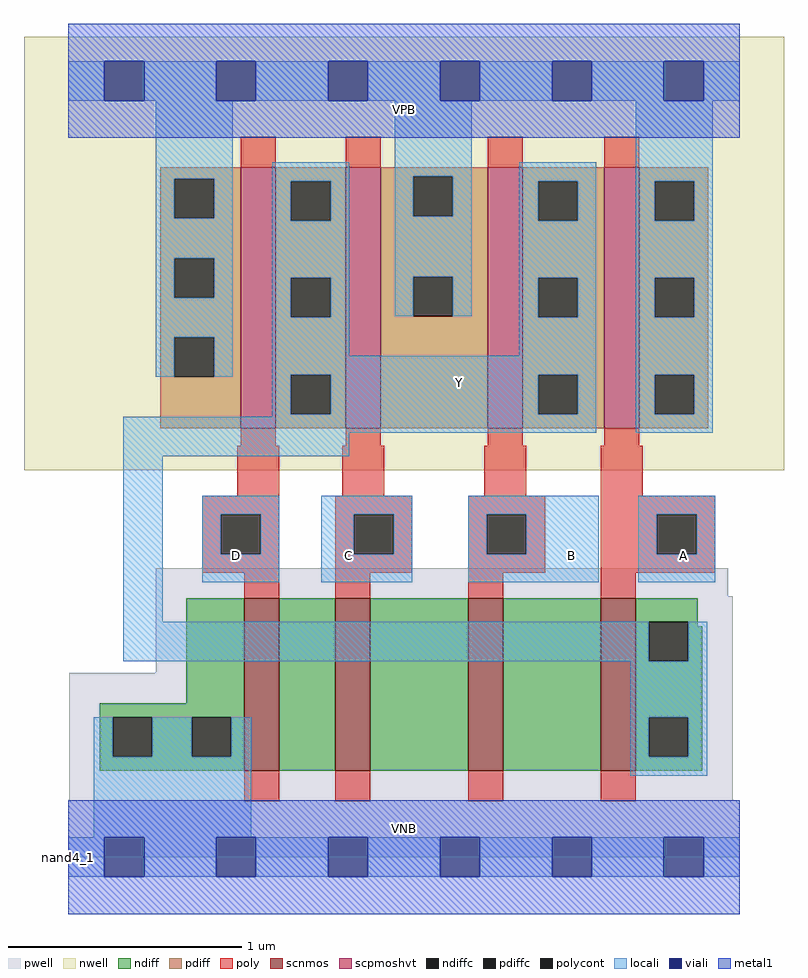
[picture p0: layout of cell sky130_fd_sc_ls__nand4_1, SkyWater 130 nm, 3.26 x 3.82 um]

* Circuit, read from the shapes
.subckt sky130_fd_sc_ls__nand4_1 A B C D VGND VNB VPB VPWR Y
XM1 n1 D VGND VNB sky130_fd_pr__nfet_01v8 w=0.74 l=0.15
XM2 n2 C n1 VNB sky130_fd_pr__nfet_01v8 w=0.74 l=0.15
XM3 n3 B n2 VNB sky130_fd_pr__nfet_01v8 w=0.74 l=0.15
XM4 Y A n3 VNB sky130_fd_pr__nfet_01v8 w=0.74 l=0.15
XM5 Y D VPWR VPB sky130_fd_pr__pfet_01v8_hvt w=1.12 l=0.15
XM6 VPWR C Y VPB sky130_fd_pr__pfet_01v8_hvt w=1.12 l=0.15
XM7 Y B VPWR VPB sky130_fd_pr__pfet_01v8_hvt w=1.12 l=0.15
XM8 VPWR A Y VPB sky130_fd_pr__pfet_01v8_hvt w=1.12 l=0.15
.ends

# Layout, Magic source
magic
tech sky130A
magscale 1 2
<< nwell >>
rect -38 332 614 704
<< pwell >>
rect 75 224 566 248
rect 75 158 570 224
rect 1 49 570 158
rect 0 0 576 49
<< scnmos >>
rect 151 74 181 222
rect 229 74 259 222
rect 343 74 373 222
rect 457 74 487 222
<< scpmoshvt >>
rect 148 368 178 592
rect 238 368 268 592
rect 360 368 390 592
rect 460 368 490 592
<< ndiff >>
rect 101 132 151 222
rect 27 120 151 132
rect 27 86 38 120
rect 72 86 106 120
rect 140 86 151 120
rect 27 74 151 86
rect 181 74 229 222
rect 259 74 343 222
rect 373 74 457 222
rect 487 202 540 222
rect 487 168 498 202
rect 532 198 540 202
rect 532 168 544 198
rect 487 120 544 168
rect 487 86 498 120
rect 532 86 544 120
rect 487 74 544 86
<< pdiff >>
rect 79 582 148 592
rect 79 548 91 582
rect 125 548 148 582
rect 79 514 148 548
rect 79 480 91 514
rect 125 480 148 514
rect 79 446 148 480
rect 79 412 91 446
rect 125 412 148 446
rect 79 368 148 412
rect 178 580 238 592
rect 178 546 191 580
rect 225 546 238 580
rect 178 497 238 546
rect 178 463 191 497
rect 225 463 238 497
rect 178 414 238 463
rect 178 380 191 414
rect 225 380 238 414
rect 178 368 238 380
rect 268 584 360 592
rect 268 550 296 584
rect 330 550 360 584
rect 268 498 360 550
rect 268 464 296 498
rect 330 464 360 498
rect 268 368 360 464
rect 390 580 460 592
rect 390 546 403 580
rect 437 546 460 580
rect 390 497 460 546
rect 390 463 403 497
rect 437 463 460 497
rect 390 414 460 463
rect 390 380 403 414
rect 437 380 460 414
rect 390 368 460 380
rect 490 580 549 592
rect 490 546 503 580
rect 537 546 549 580
rect 490 497 549 546
rect 490 463 503 497
rect 537 463 549 497
rect 490 414 549 463
rect 490 380 503 414
rect 537 380 549 414
rect 490 368 549 380
<< ndiffc >>
rect 38 86 72 120
rect 106 86 140 120
rect 498 168 532 202
rect 498 86 532 120
<< pdiffc >>
rect 91 548 125 582
rect 91 480 125 514
rect 91 412 125 446
rect 191 546 225 580
rect 191 463 225 497
rect 191 380 225 414
rect 296 550 330 584
rect 296 464 330 498
rect 403 546 437 580
rect 403 463 437 497
rect 403 380 437 414
rect 503 546 537 580
rect 503 463 537 497
rect 503 380 537 414
<< poly >>
rect 148 592 178 618
rect 238 592 268 618
rect 360 592 390 618
rect 460 592 490 618
rect 148 353 178 368
rect 238 353 268 368
rect 360 353 390 368
rect 460 353 490 368
rect 145 310 181 353
rect 235 310 271 353
rect 357 310 393 353
rect 457 310 493 353
rect 115 294 181 310
rect 115 260 131 294
rect 165 260 181 294
rect 115 244 181 260
rect 151 222 181 244
rect 229 294 295 310
rect 229 260 245 294
rect 279 260 295 294
rect 229 244 295 260
rect 343 294 409 310
rect 343 260 359 294
rect 393 260 409 294
rect 343 244 409 260
rect 457 294 555 310
rect 457 260 505 294
rect 539 260 555 294
rect 457 244 555 260
rect 229 222 259 244
rect 343 222 373 244
rect 457 222 487 244
rect 151 48 181 74
rect 229 48 259 74
rect 343 48 373 74
rect 457 48 487 74
<< polycont >>
rect 131 260 165 294
rect 245 260 279 294
rect 359 260 393 294
rect 505 260 539 294
<< locali >>
rect 0 649 31 683
rect 65 649 127 683
rect 161 649 223 683
rect 257 649 319 683
rect 353 649 415 683
rect 449 649 511 683
rect 545 649 576 683
rect 75 582 141 649
rect 75 548 91 582
rect 125 548 141 582
rect 75 514 141 548
rect 75 480 91 514
rect 125 480 141 514
rect 75 446 141 480
rect 75 412 91 446
rect 125 412 141 446
rect 175 580 241 596
rect 175 546 191 580
rect 225 546 241 580
rect 175 497 241 546
rect 175 463 191 497
rect 225 463 241 497
rect 280 584 346 649
rect 280 550 296 584
rect 330 550 346 584
rect 280 498 346 550
rect 280 464 296 498
rect 330 464 346 498
rect 387 580 453 596
rect 387 546 403 580
rect 437 546 453 580
rect 387 497 453 546
rect 175 430 241 463
rect 387 463 403 497
rect 437 463 453 497
rect 387 430 453 463
rect 175 414 453 430
rect 175 380 191 414
rect 225 380 403 414
rect 437 380 453 414
rect 175 378 453 380
rect 47 364 453 378
rect 487 580 553 649
rect 487 546 503 580
rect 537 546 553 580
rect 487 497 553 546
rect 487 463 503 497
rect 537 463 553 497
rect 487 414 553 463
rect 487 380 503 414
rect 537 380 553 414
rect 487 364 553 380
rect 47 344 241 364
rect 47 202 81 344
rect 115 294 181 310
rect 115 260 131 294
rect 165 260 181 294
rect 115 236 181 260
rect 217 294 295 310
rect 217 260 245 294
rect 279 260 295 294
rect 217 236 295 260
rect 343 294 455 310
rect 343 260 359 294
rect 393 260 455 294
rect 343 236 455 260
rect 489 294 555 310
rect 489 260 505 294
rect 539 260 555 294
rect 489 236 555 260
rect 47 168 498 202
rect 532 168 548 202
rect 482 120 548 168
rect 22 86 38 120
rect 72 86 106 120
rect 140 86 157 120
rect 22 17 157 86
rect 482 86 498 120
rect 532 86 548 120
rect 482 70 548 86
rect 0 -17 31 17
rect 65 -17 127 17
rect 161 -17 223 17
rect 257 -17 319 17
rect 353 -17 415 17
rect 449 -17 511 17
rect 545 -17 576 17
<< viali >>
rect 31 649 65 683
rect 127 649 161 683
rect 223 649 257 683
rect 319 649 353 683
rect 415 649 449 683
rect 511 649 545 683
rect 31 -17 65 17
rect 127 -17 161 17
rect 223 -17 257 17
rect 319 -17 353 17
rect 415 -17 449 17
rect 511 -17 545 17
<< metal1 >>
rect 0 683 576 715
rect 0 649 31 683
rect 65 649 127 683
rect 161 649 223 683
rect 257 649 319 683
rect 353 649 415 683
rect 449 649 511 683
rect 545 649 576 683
rect 0 617 576 649
rect 0 17 576 49
rect 0 -17 31 17
rect 65 -17 127 17
rect 161 -17 223 17
rect 257 -17 319 17
rect 353 -17 415 17
rect 449 -17 511 17
rect 545 -17 576 17
rect 0 -49 576 -17
<< labels >>
rlabel comment s 0 0 0 0 4 nand4_1
flabel pwell s 0 0 576 49 0 FreeSans 200 0 0 0 VNB
port 6 nsew ground bidirectional
flabel nwell s 0 617 576 666 0 FreeSans 200 0 0 0 VPB
port 7 nsew power bidirectional
flabel metal1 s 0 617 576 666 0 FreeSans 340 0 0 0 VPWR
port 8 nsew power bidirectional abutment
flabel metal1 s 0 0 576 49 0 FreeSans 340 0 0 0 VGND
port 5 nsew ground bidirectional abutment
flabel locali s 223 242 257 276 0 FreeSans 340 0 0 0 C
port 3 nsew signal input
flabel locali s 319 390 353 424 0 FreeSans 340 0 0 0 Y
port 9 nsew signal output
flabel locali s 127 242 161 276 0 FreeSans 340 0 0 0 D
port 4 nsew signal input
flabel locali s 415 242 449 276 0 FreeSans 340 0 0 0 B
port 2 nsew signal input
flabel locali s 511 242 545 276 0 FreeSans 340 0 0 0 A
port 1 nsew signal input
<< properties >>
string LEFsite unit
string LEFclass CORE
string FIXED_BBOX 0 0 576 666
string GDS_FILE $PDKPATH/libs.ref/sky130_fd_sc_ls/gds/sky130_fd_sc_ls.gds
string LEFsymmetry X Y
string GDS_END 2474496
string GDS_START 2469116
<< end >>
